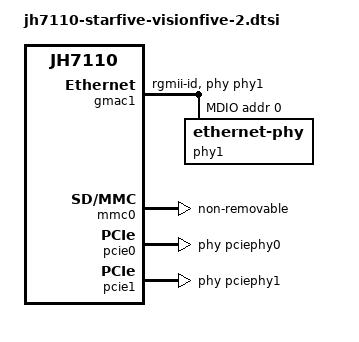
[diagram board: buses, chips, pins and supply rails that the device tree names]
// SPDX-License-Identifier: GPL-2.0 OR MIT
/*
 * Copyright (C) 2022 StarFive Technology Co., Ltd.
 * Copyright (C) 2022 Emil Renner Berthing <kernel@esmil.dk>
 */

/dts-v1/;
#include "jh7110-common.dtsi"

/ {
	aliases {
		ethernet1 = &gmac1;
	};
};

&gmac1 {
	phy-handle = <&phy1>;
	phy-mode = "rgmii-id";
	status = "okay";

	mdio {
		#address-cells = <1>;
		#size-cells = <0>;
		compatible = "snps,dwmac-mdio";

		phy1: ethernet-phy@1 {
			reg = <0>;
		};
	};
};

&mmc0 {
	non-removable;
};

&pcie0 {
       perst-gpios = <&sysgpio 26 GPIO_ACTIVE_LOW>;
       phys = <&pciephy0>;
       pinctrl-names = "default";
       pinctrl-0 = <&pcie0_pins>;
       status = "okay";
};

&pcie1 {
       perst-gpios = <&sysgpio 28 GPIO_ACTIVE_LOW>;
       phys = <&pciephy1>;
       pinctrl-names = "default";
       pinctrl-0 = <&pcie1_pins>;
       status = "okay";
};

